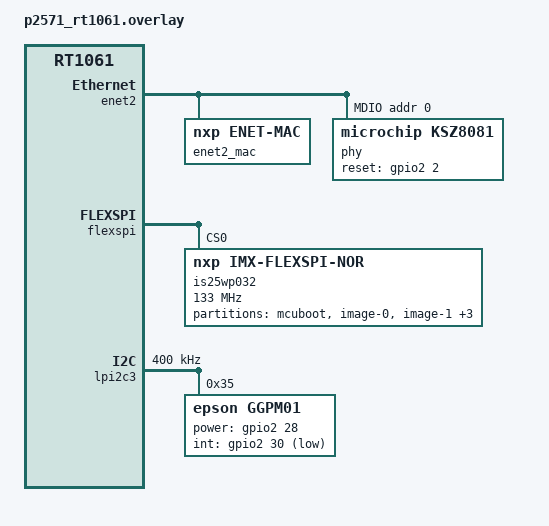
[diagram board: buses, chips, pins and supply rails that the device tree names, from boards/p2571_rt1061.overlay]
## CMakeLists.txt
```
cmake_minimum_required(VERSION 3.20.0)

find_package(Zephyr REQUIRED HINTS $ENV{ZEPHYR_BASE})
project(zephyr-node402-sample)

target_sources(app PRIVATE src/main.cpp)
```

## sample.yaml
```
sample:
  name: node402 sample
```

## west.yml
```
manifest:
  remotes:
    - name: remote
      url-base: git@ssh.dev.azure.com:v3/SimplAutomation/Zephyr

  self:
    west-commands: scripts/west-commands.yml
    import:
      - ./base.yml
      - ../
```

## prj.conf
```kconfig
# Custom Module
CONFIG_HC_SML=y
CONFIG_HC_CANOPEN_STACK=y
CONFIG_HC_CANOPEN_STACK_SYNC_THREAD_PRIORITY=-10
CONFIG_HC_CANOPEN_STACK_SYNC_THREAD_STACK_SIZE=1536
CONFIG_HC_CANOPEN_STACK_MAIN_THREAD_STACK_SIZE=1024
CONFIG_HC_NODE402=y
CONFIG_HC_NODE402_LOG_LEVEL_DBG=y

# Zephyr Module
## (Top) > Modules > CANopenNode support
CONFIG_CANOPENNODE_LEDS=n
## (Top) > Modules > CANopenNode support
CONFIG_CANOPENNODE_SYNC_THREAD=n

# Zephyr Kernel
## (Top) > General Kernel Options
CONFIG_MAIN_STACK_SIZE=8192

## (Top) > General Kernel Options > Kernel Debugging and Metrics
CONFIG_THREAD_MONITOR=y

## (Top) > Device Drivers
CONFIG_GPIO=y

## (Top) > Device Drivers
CONFIG_CAN=y
## (Top) > Device Drivers > CAN Drivers > STM32 CAN Driver
CONFIG_CAN_MAX_FILTER=56

## (Top) > C Library > C Library Implementation
CONFIG_NEWLIB_LIBC=y

## (Top) > Additional libraries > OS Support Library
CONFIG_REBOOT=y

## (Top) > Sub Systems and OS Services
CONFIG_CPLUSPLUS=y
## (Top) > Sub Systems and OS Services > C++ support for the application > C++ Standard
CONFIG_STD_CPP17=y
## (Top) > Sub Systems and OS Services > C++ support for the application
CONFIG_LIB_CPLUSPLUS=y

## (Top) > Sub Systems and OS Services > Debugging Options
CONFIG_DEBUG_THREAD_INFO=y

## (Top) > Sub Systems and OS Services > Logging
CONFIG_LOG=y
CONFIG_LOG_BUFFER_SIZE=8192

## (Top) > Build and Link Features > Compiler Options > Optimization level
CONFIG_DEBUG_OPTIMIZATIONS=y
```

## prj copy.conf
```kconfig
# Custom Module
CONFIG_HC_SML=y
CONFIG_HC_CANOPEN_STACK=y
CONFIG_HC_CANOPEN_STACK_SYNC_THREAD_PRIORITY=-10
CONFIG_HC_CANOPEN_STACK_SYNC_THREAD_STACK_SIZE=1536
CONFIG_HC_CANOPEN_STACK_MAIN_THREAD_STACK_SIZE=1024
CONFIG_HC_NODE402=y
CONFIG_HC_NODE402_LOG_LEVEL_DBG=y

# Zephyr Module
## (Top) > Modules > CANopenNode support
CONFIG_CANOPENNODE_LEDS=n
## (Top) > Modules > CANopenNode support
CONFIG_CANOPENNODE_SYNC_THREAD=n

# Zephyr Kernel
## (Top) > General Kernel Options
CONFIG_MAIN_STACK_SIZE=8192

## (Top) > General Kernel Options > Kernel Debugging and Metrics
CONFIG_THREAD_MONITOR=y

## (Top) > Device Drivers
CONFIG_GPIO=y

## (Top) > Device Drivers
CONFIG_CAN=y
## (Top) > Device Drivers > CAN Drivers > STM32 CAN Driver
CONFIG_CAN_MAX_FILTER=56

## (Top) > C Library > C Library Implementation
CONFIG_NEWLIB_LIBC=y

## (Top) > Additional libraries > OS Support Library
CONFIG_REBOOT=y

## (Top) > Sub Systems and OS Services
CONFIG_CPLUSPLUS=y
## (Top) > Sub Systems and OS Services > C++ support for the application > C++ Standard
CONFIG_STD_CPP17=y
## (Top) > Sub Systems and OS Services > C++ support for the application
CONFIG_LIB_CPLUSPLUS=y

## (Top) > Sub Systems and OS Services > Debugging Options
CONFIG_DEBUG_THREAD_INFO=y

## (Top) > Sub Systems and OS Services > Logging
CONFIG_LOG=y
CONFIG_LOG_BUFFER_SIZE=8192

CONFIG_SHELL=y
# (Top) > SubSystems and OS Services > Shell
CONFIG_SHELL_STACK_SIZE=4096
## (Top) > Build and Link Features > Compiler Options > Optimization level
CONFIG_DEBUG_OPTIMIZATIONS=y
```

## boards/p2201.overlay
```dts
/ {
	zephyr,user {

	};
	aliases {
		can1 = &flexcan1;
	};

	chosen {
		zephyr,sram = &ocram2;
        zephyr,console = &lpuart1;
        zephyr,shell-uart = &lpuart2;
	};
};

&flexspi {
    status = "okay";
    pinctrl-0 = <&pinmux_flexspi1>;
    pinctrl-names = "default";
    ahb-prefetch;
    ahb-read-addr-opt;
    rx-clock-source = <1>;
    reg = <0x402a8000 0x4000>, <0x60000000 DT_SIZE_M(4)>;
    is25wp032: is25wp032@0 {
        compatible = "nxp,imx-flexspi-nor";
        size = <DT_SIZE_M(32)>;
        reg = <0>;
        spi-max-frequency = <133000000>;
        status = "okay";
        jedec-id = [ 9d 70 17  ];
        erase-block-size = <DT_SIZE_K(4)>;
        write-block-size = <1>;

        partitions {
            compatible = "fixed-partitions";
            #address-cells = <1>;
            #size-cells = <1>;

            boot_partition: partition@0 {
                label = "mcuboot";
                reg = <0x00000000 DT_SIZE_K(128)>;
            };
            slot0_partition: partition@20000 {
                label = "image-0";
                reg = <0x00020000 DT_SIZE_K(1440)>;
            };
            slot1_partition: partition@188000 {
                label = "image-1";
                reg = <0x00188000 DT_SIZE_K(1440)>;
            };
            scratch_partition: partition@2f0000 {
                label = "image-scratch";
                reg = <0x002f0000 DT_SIZE_K(64)>;
            };
            storage_partition: partition@300000 {
                label = "storage";
                reg = <0x00300000 DT_SIZE_K(512)>;
            };
			configure_partition: partition@380000 {
                label = "configure";
                reg = <0x00380000 DT_SIZE_K(512)>;
            };
        };
    };
};

&pinmux_lpspi3 {
        /delete-node/ group0;
        group0 {
                pinmux = <&iomuxc_gpio_ad_b1_12_gpio1_io28>,
                         <&iomuxc_gpio_ad_b1_15_lpspi3_sck>,
                         <&iomuxc_gpio_ad_b1_13_lpspi3_sdi>,
                         <&iomuxc_gpio_ad_b1_14_lpspi3_sdo>;
                drive-strength = "r0-6";
                slew-rate = "slow";
                nxp,speed = "100-mhz";
        };
};

&pinmux_lpspi4 {
	/delete-node/ group0;
	group0 {
		pinmux = <&iomuxc_gpio_b1_04_gpio2_io20>,
		         <&iomuxc_gpio_b1_07_lpspi4_sck>,
		         <&iomuxc_gpio_b1_05_lpspi4_sdi>,
		         <&iomuxc_gpio_b1_06_lpspi4_sdo>;
		drive-strength = "r0-6";
		slew-rate = "slow";
		nxp,speed = "100-mhz";
	};
};


&lpspi3 {
	status = "disabled";
};


&lpuart2 {
	status = "okay";
};
```

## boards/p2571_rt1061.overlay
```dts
/ {
	zephyr,user {

	};
	aliases {
		eth0 = &enet2_mac;
		can1 = &flexcan1;
		can2 = &flexcan2;
	};

	chosen {
		zephyr,shell-uart = &lpuart6;
		zephyr,console = &lpuart1;
		zephyr,sram = &ocram2;
	};

	soc {
		/delete-node/ ethernet@402d4000;

		enet2: enet@402d4000 {
			compatible = "nxp,enet";
			reg = <0x402D4000 0x628>;
			clocks = <&ccm IMX_CCM_ENET_CLK 0 0>;
			enet2_mac: ethernet {
				compatible = "nxp,enet-mac";
				interrupts = <152 0>;
				interrupt-names = "COMMON";
				nxp,mdio = <&enet2_mdio>;
				nxp,ptp-clock = <&enet2_ptp_clock>;
				phy-connection-type = "rmii";
				status = "disabled";
			};
			enet2_mdio: mdio {
				compatible = "nxp,enet-mdio";
				status = "disabled";
				#address-cells = <1>;
				#size-cells = <0>;
			};
			enet2_ptp_clock: ptp_clock {
				compatible = "nxp,enet-ptp-clock";
				interrupts = <115 0>;
				status = "disabled";
				clocks = <&ccm IMX_CCM_ENET_PLL 0 0>;
			};
		};
	};
};

&flexspi {
    status = "okay";
    pinctrl-0 = <&pinmux_flexspi1>;
    pinctrl-names = "default";
    ahb-prefetch;
    ahb-read-addr-opt;
    rx-clock-source = <1>;
    reg = <0x402a8000 0x4000>, <0x60000000 DT_SIZE_M(4)>;
    is25wp032: is25wp032@0 {
        compatible = "nxp,imx-flexspi-nor";
        size = <DT_SIZE_M(32)>;
        reg = <0>;
        spi-max-frequency = <133000000>;
        status = "okay";
        jedec-id = [ 9d 70 17  ];
        erase-block-size = <DT_SIZE_K(4)>;
        write-block-size = <1>;

        partitions {
            compatible = "fixed-partitions";
            #address-cells = <1>;
            #size-cells = <1>;

            boot_partition: partition@0 {
                label = "mcuboot";
                reg = <0x00000000 DT_SIZE_K(128)>;
            };
            slot0_partition: partition@20000 {
                label = "image-0";
                reg = <0x00020000 DT_SIZE_K(1440)>;
            };
            slot1_partition: partition@188000 {
                label = "image-1";
                reg = <0x00188000 DT_SIZE_K(1440)>;
            };
            scratch_partition: partition@2f0000 {
                label = "image-scratch";
                reg = <0x002f0000 DT_SIZE_K(64)>;
            };
            storage_partition: partition@300000 {
                label = "storage";
                reg = <0x00300000 DT_SIZE_K(512)>;
            };
			configure_partition: partition@380000 {
                label = "configure";
                reg = <0x00380000 DT_SIZE_K(512)>;
            };
        };
    };
};

&enet2_mac {
	status = "okay";
	pinctrl-0 = <&pinmux_enet2>;
	pinctrl-names = "default";
	phy-handle = <&phy>;
};

&enet2_mdio {
	status = "okay";
	pinctrl-0 = <&pinmux_enet2_mdio>;
	pinctrl-names = "default";
	phy: phy@0 {
		compatible = "microchip,ksz8081";
		reg = <0>;
		status = "okay";
		mc,reset-gpio = <&gpio2 2 GPIO_ACTIVE_HIGH>;
		// mc,interrupt-gpio = <&gpio1 10 GPIO_ACTIVE_HIGH>;
		mc,interface-type = "rmii";
	};
};

&enet2_ptp_clock {
	status = "disabled";
	pinctrl-0 = <&pinmux_ptp>;
	pinctrl-names = "default";
};

&pinctrl {
	/delete-node/ pinmux_ptp;
	/delete-node/ pinmux_enet2;

	pinmux_enet2: pinmux_enet2 {
		group0 {
			pinmux = <&iomuxc_gpio_b0_15_enet2_ref_clk2>;
			bias-disable;
			drive-strength = "r0-6";
			slew-rate = "fast";
			nxp,speed = "50-mhz";
			input-enable;
		};
		group1 {
			pinmux = <&iomuxc_gpio_b1_01_enet2_rx_data0>,
				<&iomuxc_gpio_b1_02_enet2_rx_data1>,
				<&iomuxc_gpio_b1_03_enet2_rx_en>,
				<&iomuxc_gpio_b0_12_enet2_tx_data0>,
				<&iomuxc_gpio_b0_13_enet2_tx_data1>,
				<&iomuxc_gpio_b0_14_enet2_tx_en>,
				<&iomuxc_gpio_b1_00_enet2_rx_er>;
			drive-strength = "r0-5";
			bias-pull-up;
			bias-pull-up-value = "100k";
			slew-rate = "fast";
			nxp,speed = "200-mhz";
		};
	};

	pinmux_enet2_mdio: pinmux_enet2_mdio {
		group0 {
			pinmux = <&iomuxc_gpio_b0_00_enet2_mdc>,
				<&iomuxc_gpio_b0_01_enet2_mdio>,
				<&iomuxc_gpio_b0_02_gpio2_io02>;
			drive-strength = "r0-5";
			bias-pull-up;
			bias-pull-up-value = "100k";
			slew-rate = "fast";
			nxp,speed = "200-mhz";
		};
	};

	pinmux_ptp: pinmux_ptp {
		group0 {
			pinmux = <&iomuxc_gpio_ad_b1_10_enet2_1588_event1_out>,
				<&iomuxc_gpio_ad_b1_11_enet2_1588_event1_in>;
			drive-strength = "r0-6";
			slew-rate = "slow";
			nxp,speed = "100-mhz";
		};
	};
};

&lpi2c3 {
	pinctrl-0 = <&pinmux_lpi2c3>;
	pinctrl-names = "default";
	status = "okay";
	clock-frequency = <I2C_BITRATE_FAST>;

	ggpm01@35 {
		compatible = "epson,ggpm01";
		reg = <0x35>;
		power-gpios = <&gpio2 28 GPIO_ACTIVE_HIGH>;
		int-gpios = <&gpio2 30 GPIO_ACTIVE_LOW>;
		status = "okay";
	};
};
```

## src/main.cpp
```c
#include <zephyr/kernel.h>
#include <zephyr/drivers/gpio.h>
#include <zephyr/sys/sys_heap.h>
#include <zephyr/logging/log.h>
#include <zephyr/shell/shell.h>
LOG_MODULE_REGISTER(main);

#include <string>
#include <utility>
#include <vector>

#include <hc/canopen_stack.hpp>
#include <hc/node402.hpp>
#include "motor_settings.h"

/* 1000 msec = 1 sec */
#define SLEEP_TIME_MS 1000

/* The devicetree node identifier for the "led0" alias. */
#define LED0_NODE DT_ALIAS(led0)

/*
 * A build error on this line means your board is unsupported.
 * See the sample documentation for information on how to fix this.
 */
static const struct gpio_dt_spec led = GPIO_DT_SPEC_GET(LED0_NODE, gpios);


enum CanbusDef : uint8_t
{
    CAN_1   = 1,
    CAN_NUM = 1,
};

Node402* motor;  // Use a pointer for the motor
int target = 100000;

// Define a constant for the node ID
constexpr uint8_t NODE_ID = 1;

void node402_event_emitter(Node402Event e) {
    if (e.type == NODE402_TARGET_REACHED) {
        LOG_INF("Target reached");
    }
    LOG_INF("Got motor event: %d", e.type);
}

// Function to control motor direction
void control_motor_direction(bool forward) {
    motor->enable();
    motor->set_target_position(forward ? target : -target);
    motor->start_profile_position_mode_1(true);
    motor->start_profile_position_mode_2(true, true);
}

// Shell command handler for motor control
static int cmd_motor_control(const struct shell *shell, size_t argc, char **argv) {
    if (argc != 2) {
        shell_print(shell, "Usage: motor <forward|reverse>");
        return -EINVAL;
    }

    if (strcmp(argv[1], "forward") == 0) {
        control_motor_direction(true);
        shell_print(shell, "Motor set to forward");
    } else if (strcmp(argv[1], "reverse") == 0) {
        control_motor_direction(false);
        shell_print(shell, "Motor set to reverse");
    } else {
        shell_print(shell, "Invalid argument. Use 'forward' or 'reverse'.");
        return -EINVAL;
    }

    return 0;
}

// Register shell command
SHELL_CMD_REGISTER(motor, NULL, "Control motor direction", cmd_motor_control);


int main(void)
{
    CANopenStack canopen_stack(DEVICE_DT_GET(DT_ALIAS(can1)), 1000, CAN_1);

    canopen_stack.init();

    // Initialize the motor using a pointer
    motor = new Node402{&canopen_stack, NODE_ID, &node402_1_bin[0], node402_event_emitter};

    canopen_stack.register_node(*motor);
    canopen_stack.start();
    canopen_stack.reset_all_node();
    canopen_stack.operational();

    motor->init();
    motor->enable();
    
    motor->set_profile_position_mode();
    motor->set_target_position(target);
    motor->set_profile_velocity(200000);
    motor->set_profile_acceleration(50000);
    motor->set_profile_deceleration(50000);
    motor->start_profile_position_mode_1(true);
    motor->start_profile_position_mode_2(true, true);

    while (1)
    {
        k_msleep(SLEEP_TIME_MS);
    }

    return 0;
}
```

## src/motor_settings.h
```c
const unsigned char node402_1_bin[] = {
  0x46, 0x00, 0x00, 0x00,
  0x17, 0x10, 0x00, 0x02, 0x00, 0x00, 0x00, 0xe8, 0x03,
  0x00, 0x14, 0x01, 0x04, 0x00, 0x00, 0x00, 0x01, 0x02, 0x00, 0x80,
  0x00, 0x14, 0x02, 0x01, 0x00, 0x00, 0x00, 0x01,
  0x00, 0x16, 0x00, 0x01, 0x00, 0x00, 0x00, 0x00,
  0x00, 0x16, 0x01, 0x04, 0x00, 0x00, 0x00, 0x10, 0x00, 0x40, 0x60,
  0x00, 0x16, 0x02, 0x04, 0x00, 0x00, 0x00, 0x10, 0x00, 0x40, 0x60,
  0x00, 0x16, 0x03, 0x04, 0x00, 0x00, 0x00, 0x20, 0x00, 0xff, 0x60,
  0x00, 0x16, 0x00, 0x01, 0x00, 0x00, 0x00, 0x03,
  0x00, 0x14, 0x01, 0x04, 0x00, 0x00, 0x00, 0x01, 0x02, 0x00, 0x00,
  0x01, 0x14, 0x01, 0x04, 0x00, 0x00, 0x00, 0x01, 0x03, 0x00, 0x80,
  0x01, 0x14, 0x02, 0x01, 0x00, 0x00, 0x00, 0x01,
  0x01, 0x16, 0x00, 0x01, 0x00, 0x00, 0x00, 0x00,
  0x01, 0x16, 0x01, 0x04, 0x00, 0x00, 0x00, 0x20, 0x00, 0x7a, 0x60,
  0x01, 0x16, 0x02, 0x04, 0x00, 0x00, 0x00, 0x20, 0x00, 0x81, 0x60,
  0x01, 0x16, 0x00, 0x01, 0x00, 0x00, 0x00, 0x02,
  0x01, 0x14, 0x01, 0x04, 0x00, 0x00, 0x00, 0x01, 0x03, 0x00, 0x00,
  0x00, 0x18, 0x01, 0x04, 0x00, 0x00, 0x00, 0x81, 0x01, 0x00, 0x80,
  0x00, 0x18, 0x02, 0x01, 0x00, 0x00, 0x00, 0x01,
  0x00, 0x18, 0x03, 0x02, 0x00, 0x00, 0x00, 0x00, 0x00,
  0x00, 0x18, 0x05, 0x02, 0x00, 0x00, 0x00, 0x00, 0x00,
  0x00, 0x18, 0x06, 0x01, 0x00, 0x00, 0x00, 0x00,
  0x00, 0x1a, 0x00, 0x01, 0x00, 0x00, 0x00, 0x00,
  0x00, 0x1a, 0x01, 0x04, 0x00, 0x00, 0x00, 0x08, 0x00, 0x01, 0x10,
  0x00, 0x1a, 0x02, 0x04, 0x00, 0x00, 0x00, 0x10, 0x00, 0x41, 0x60,
  0x00, 0x1a, 0x03, 0x04, 0x00, 0x00, 0x00, 0x08, 0x00, 0x61, 0x60,
  0x00, 0x1a, 0x04, 0x04, 0x00, 0x00, 0x00, 0x20, 0x00, 0xfd, 0x60,
  0x00, 0x1a, 0x00, 0x01, 0x00, 0x00, 0x00, 0x04,
  0x00, 0x18, 0x01, 0x04, 0x00, 0x00, 0x00, 0x81, 0x01, 0x00, 0x00,
  0x01, 0x18, 0x01, 0x04, 0x00, 0x00, 0x00, 0x81, 0x02, 0x00, 0x80,
  0x01, 0x18, 0x02, 0x01, 0x00, 0x00, 0x00, 0x01,
  0x01, 0x18, 0x03, 0x02, 0x00, 0x00, 0x00, 0x00, 0x00,
  0x01, 0x18, 0x05, 0x02, 0x00, 0x00, 0x00, 0x00, 0x00,
  0x01, 0x18, 0x06, 0x01, 0x00, 0x00, 0x00, 0x00,
  0x01, 0x1a, 0x00, 0x01, 0x00, 0x00, 0x00, 0x00,
  0x01, 0x1a, 0x01, 0x04, 0x00, 0x00, 0x00, 0x20, 0x00, 0x62, 0x60,
  0x01, 0x1a, 0x02, 0x04, 0x00, 0x00, 0x00, 0x20, 0x00, 0x64, 0x60,
  0x01, 0x1a, 0x00, 0x01, 0x00, 0x00, 0x00, 0x02,
  0x01, 0x18, 0x01, 0x04, 0x00, 0x00, 0x00, 0x81, 0x02, 0x00, 0x00,
  0x02, 0x18, 0x01, 0x04, 0x00, 0x00, 0x00, 0x81, 0x03, 0x00, 0x80,
  0x02, 0x18, 0x02, 0x01, 0x00, 0x00, 0x00, 0x01,
  0x02, 0x18, 0x03, 0x02, 0x00, 0x00, 0x00, 0x00, 0x00,
  0x02, 0x18, 0x05, 0x02, 0x00, 0x00, 0x00, 0x00, 0x00,
  0x02, 0x18, 0x06, 0x01, 0x00, 0x00, 0x00, 0x00,
  0x02, 0x1a, 0x00, 0x01, 0x00, 0x00, 0x00, 0x00,
  0x02, 0x1a, 0x01, 0x04, 0x00, 0x00, 0x00, 0x20, 0x00, 0x6b, 0x60,
  0x02, 0x1a, 0x02, 0x04, 0x00, 0x00, 0x00, 0x20, 0x00, 0x6c, 0x60,
  0x02, 0x1a, 0x00, 0x01, 0x00, 0x00, 0x00, 0x02,
  0x02, 0x18, 0x01, 0x04, 0x00, 0x00, 0x00, 0x81, 0x03, 0x00, 0x00,
  0x03, 0x18, 0x01, 0x04, 0x00, 0x00, 0x00, 0x81, 0x04, 0x00, 0x80,
  0x03, 0x18, 0x02, 0x01, 0x00, 0x00, 0x00, 0x01,
  0x03, 0x18, 0x03, 0x02, 0x00, 0x00, 0x00, 0x00, 0x00,
  0x03, 0x18, 0x05, 0x02, 0x00, 0x00, 0x00, 0x00, 0x00,
  0x03, 0x18, 0x06, 0x01, 0x00, 0x00, 0x00, 0x00,
  0x03, 0x1a, 0x00, 0x01, 0x00, 0x00, 0x00, 0x00,
  0x03, 0x1a, 0x01, 0x04, 0x00, 0x00, 0x00, 0x10, 0x00, 0x74, 0x60,
  0x03, 0x1a, 0x02, 0x04, 0x00, 0x00, 0x00, 0x10, 0x00, 0x77, 0x60,
  0x03, 0x1a, 0x03, 0x04, 0x00, 0x00, 0x00, 0x20, 0x00, 0x79, 0x60,
  0x03, 0x1a, 0x00, 0x01, 0x00, 0x00, 0x00, 0x03,
  0x03, 0x18, 0x01, 0x04, 0x00, 0x00, 0x00, 0x81, 0x04, 0x00, 0x00,
  0x14, 0x20, 0x04, 0x01, 0x00, 0x00, 0x00, 0x00,
  0x5d, 0x60, 0x00, 0x02, 0x00, 0x00, 0x00, 0x01, 0x00,
  0x5e, 0x60, 0x00, 0x02, 0x00, 0x00, 0x00, 0x01, 0x00,
  0x60, 0x60, 0x00, 0x01, 0x00, 0x00, 0x00, 0x01,
  0x67, 0x60, 0x00, 0x04, 0x00, 0x00, 0x00, 0x32, 0x00, 0x00, 0x00,
  0x68, 0x60, 0x00, 0x02, 0x00, 0x00, 0x00, 0x0a, 0x00,
  0x6d, 0x60, 0x00, 0x02, 0x00, 0x00, 0x00, 0x50, 0xc3,
  0x6e, 0x60, 0x00, 0x02, 0x00, 0x00, 0x00, 0x01, 0x00,
  0x6f, 0x60, 0x00, 0x02, 0x00, 0x00, 0x00, 0x88, 0x13,
  0x70, 0x60, 0x00, 0x02, 0x00, 0x00, 0x00, 0x01, 0x00,
  0xf2, 0x60, 0x00, 0x02, 0x00, 0x00, 0x00, 0x02, 0x00
};
const unsigned int node402_1_bin_len = 668;
```
